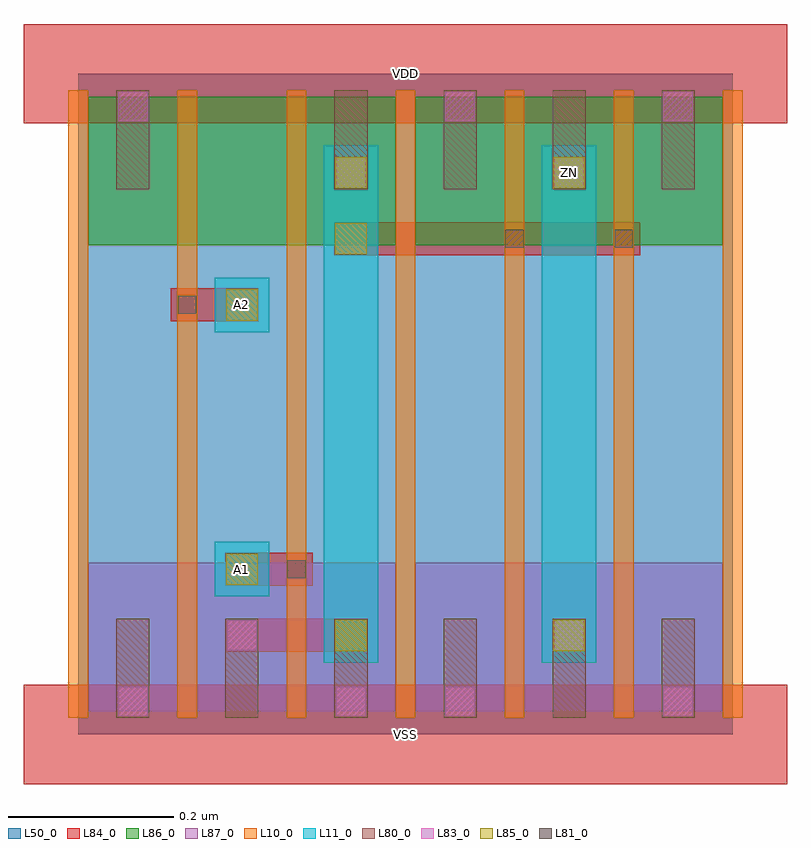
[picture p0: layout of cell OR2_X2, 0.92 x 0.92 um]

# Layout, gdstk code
import gdstk
lib = gdstk.Library(unit=1e-6, precision=1e-09)
def R(c, l, rs):  # rectangles x0, y0, x1, y1
    for r in rs: c.add(gdstk.rectangle(r[:2], r[2:], *l))
def A(c, l, x, y, w, h, nx, ny, dx, dy):  # array of equal rectangles
    R(c, l, [(x+i*dx, y+j*dy, x+i*dx+w, y+j*dy+h) for i in range(nx) for j in range(ny)])
L10_0 = (10, 0)
L11_0 = (11, 0)
L50_0 = (50, 0)
L80_0 = (80, 0)
L81_0 = (81, 0)
L83_0 = (83, 0)
L84_0 = (84, 0)
L85_0 = (85, 0)
L86_0 = (86, 0)
L87_0 = (87, 0)

or2_x2 = lib.new_cell('OR2_X2')
A(or2_x2, L10_0, -0.012, 0.02, 0.024, 0.76, 7, 1, 0.132, 0)
R(or2_x2, L11_0, [(0.297,0.087,0.363,0.713), (0.561,0.087,0.627,0.713), (0.165,0.167,0.231,0.233), (0.165,0.487,0.231,0.553)])
R(or2_x2, L50_0, [(0,0,0.792,0.8)])
A(or2_x2, L80_0, 0.046, 0.02, 0.04, 0.12, 6, 1, 0.132, 0)
A(or2_x2, L80_0, 0.31, 0.66, 0.04, 0.12, 4, 1, 0.132, 0)
R(or2_x2, L80_0, [(0.046,0.66,0.086,0.78)])
R(or2_x2, L81_0, [(0.253,0.189,0.275,0.211), (0.121,0.509,0.143,0.531), (0.517,0.589,0.539,0.611), (0.649,0.589,0.671,0.611)])
R(or2_x2, L83_0, [(0.048,0.022,0.084,0.058), (0.312,0.022,0.348,0.058), (0.444,0.022,0.48,0.058), (0.708,0.022,0.744,0.058), (0.18,0.102,0.216,0.138), (0.576,0.102,0.612,0.138), (0.312,0.662,0.348,0.698), (0.576,0.662,0.612,0.698), (0.048,0.742,0.084,0.778), (0.444,0.742,0.48,0.778), (0.708,0.742,0.744,0.778)])
R(or2_x2, L84_0, [(-0.066,-0.06,0.858,0.06), (0.178,0.1,0.35,0.14), (0.574,0.1,0.614,0.14), (0.178,0.18,0.284,0.22), (0.112,0.5,0.218,0.54), (0.31,0.58,0.68,0.62), (0.31,0.66,0.35,0.7), (0.574,0.66,0.614,0.7), (-0.066,0.74,0.858,0.86)])
R(or2_x2, L85_0, [(0.311,0.101,0.349,0.139), (0.575,0.101,0.613,0.139), (0.179,0.181,0.217,0.219), (0.179,0.501,0.217,0.539), (0.311,0.581,0.349,0.619), (0.311,0.661,0.349,0.699), (0.575,0.661,0.613,0.699)])
R(or2_x2, L86_0, [(0.012,0.592,0.384,0.772), (0.408,0.592,0.78,0.772)])
R(or2_x2, L87_0, [(0.012,0.028,0.384,0.208), (0.408,0.028,0.78,0.208)])
or2_x2.add(gdstk.Label('VDD', (0.396,0.8), layer=88, texttype=0))
or2_x2.add(gdstk.Label('VSS', (0.396,0), layer=88, texttype=0))
or2_x2.add(gdstk.Label('ZN', (0.594,0.68), layer=31, texttype=0))
or2_x2.add(gdstk.Label('A2', (0.198,0.52), layer=31, texttype=0))
or2_x2.add(gdstk.Label('A1', (0.198,0.2), layer=31, texttype=0))

lib.write_gds('OR2_X2.gds')
